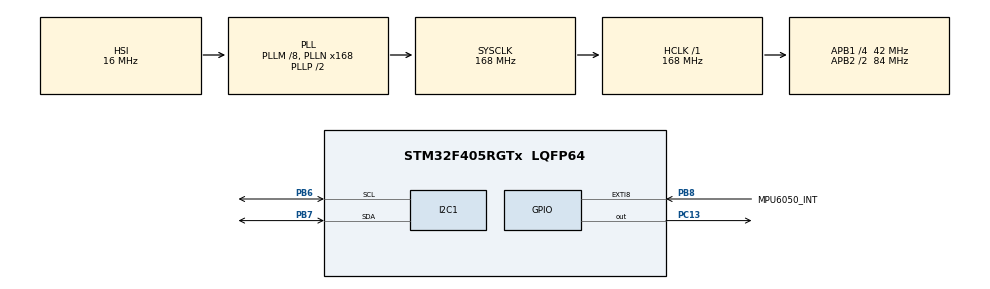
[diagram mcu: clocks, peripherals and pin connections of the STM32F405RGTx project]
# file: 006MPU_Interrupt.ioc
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FREERTOS.Tasks01=defaultTask,24,128,StartDefaultTask,Default,NULL,Dynamic,NULL,NULL;SensorReadTask,32,128,sensor_read_task,Default,NULL,Dynamic,NULL,NULL;ReceiverReadTas,24,128,reveiver_read_task,Default,NULL,Dynamic,NULL,NULL;EscControlTask,40,128,esc_control_task,Default,NULL,Dynamic,NULL,NULL
FREERTOS.configUSE_NEWLIB_REENTRANT=1
Mcu.Family=STM32F4
Mcu.Name=STM32F405RGTx
Mcu.Package=LQFP64
NVIC.EXTI9_5_IRQn=true\:5\:0\:true\:false\:true\:false\:true\:true\:true
NVIC.PriorityGroup=NVIC_PRIORITYGROUP_4
NVIC.TIM6_DAC_IRQn=true\:15\:0\:false\:false\:true\:false\:false\:true\:true
NVIC.TimeBase=TIM6_DAC_IRQn
NVIC.TimeBaseIP=TIM6
PA13.Mode=Serial_Wire
PA13.Signal=SYS_JTMS-SWDIO
PA14.Mode=Serial_Wire
PA14.Signal=SYS_JTCK-SWCLK
PB6.Mode=I2C
PB6.Signal=I2C1_SCL
PB7.Mode=I2C
PB7.Signal=I2C1_SDA
PB8.GPIO_Label=MPU6050_INT
PB8.GPIO_PuPd=GPIO_PULLDOWN
PB8.Signal=GPXTI8
PC13-ANTI_TAMP.PinState=GPIO_PIN_RESET
PC13-ANTI_TAMP.Signal=GPIO_Output
PC14-OSC32_IN.Mode=LSE-External-Oscillator
PC14-OSC32_IN.Signal=RCC_OSC32_IN
PC15-OSC32_OUT.Mode=LSE-External-Oscillator
PC15-OSC32_OUT.Signal=RCC_OSC32_OUT
PH0-OSC_IN.Mode=HSE-External-Oscillator
PH0-OSC_IN.Signal=RCC_OSC_IN
PH1-OSC_OUT.Mode=HSE-External-Oscillator
PH1-OSC_OUT.Signal=RCC_OSC_OUT
ProjectManager.HeapSize=0x200
ProjectManager.StackSize=0x400
ProjectManager.TargetToolchain=STM32CubeIDE
RCC.48MHZClocksFreq_Value=84000000
RCC.AHBFreq_Value=168000000
RCC.APB1CLKDivider=RCC_HCLK_DIV4
RCC.APB1Freq_Value=42000000
RCC.APB1TimFreq_Value=84000000
RCC.APB2CLKDivider=RCC_HCLK_DIV2
RCC.APB2Freq_Value=84000000
RCC.APB2TimFreq_Value=168000000
RCC.CortexFreq_Value=168000000
RCC.HCLKFreq_Value=168000000
RCC.HSE_VALUE=8000000
RCC.HSI_VALUE=16000000
RCC.PLLM=8
RCC.PLLN=168
RCC.SYSCLKFreq_VALUE=168000000
RCC.SYSCLKSource=RCC_SYSCLKSOURCE_PLLCLK
RCC.VCOOutputFreq_Value=336000000
VP_FREERTOS_VS_CMSIS_V2.Mode=CMSIS_V2
VP_SYS_VS_tim6.Mode=TIM6
board=custom

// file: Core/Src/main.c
/* USER CODE BEGIN Header */
/**
  ******************************************************************************
  * @file           : main.c
  * @brief          : Main program body
  ******************************************************************************
  * @attention
  *
  * Copyright (c) 2026 STMicroelectronics.
  * All rights reserved.
  *
  * This software is licensed under terms that can be found in the LICENSE file
  * in the root directory of this software component.
  * If no LICENSE file comes with this software, it is provided AS-IS.
  *
  ******************************************************************************
  */
/* USER CODE END Header */
#include "main.h"
#include "cmsis_os.h"

/* USER CODE BEGIN Includes */
#include "MPU6050.h"
#include "kalman.h"

/* USER CODE END Includes */

I2C_HandleTypeDef hi2c1;

/* Definitions for defaultTask */
osThreadId_t defaultTaskHandle;
const osThreadAttr_t defaultTask_attributes = {
  .name = "defaultTask",
  .stack_size = 128 * 4,
  .priority = (osPriority_t) osPriorityNormal,
};
/* Definitions for SensorReadTask */
osThreadId_t SensorReadTaskHandle;
const osThreadAttr_t SensorReadTask_attributes = {
  .name = "SensorReadTask",
  .stack_size = 128 * 4,
  .priority = (osPriority_t) osPriorityAboveNormal,
};
/* Definitions for ReceiverReadTas */
osThreadId_t ReceiverReadTasHandle;
const osThreadAttr_t ReceiverReadTas_attributes = {
  .name = "ReceiverReadTas",
  .stack_size = 128 * 4,
  .priority = (osPriority_t) osPriorityNormal,
};
/* Definitions for EscControlTask */
osThreadId_t EscControlTaskHandle;
const osThreadAttr_t EscControlTask_attributes = {
  .name = "EscControlTask",
  .stack_size = 128 * 4,
  .priority = (osPriority_t) osPriorityHigh,
};
/* USER CODE BEGIN PV */

mpu6050_data mpu_data;

float Gx, Gy, Gz;
float Ax, Ay, Az;

float gyro_offset[3] = {0.0};

Kalman_t KalmanRoll;
Kalman_t KalmanPitch;

float roll, pitch;

float AccRoll;
float AccPitch;

/* USER CODE END PV */

void SystemClock_Config(void);
static void MX_GPIO_Init(void);
static void MX_I2C1_Init(void);
void StartDefaultTask(void *argument);
void sensor_read_task(void *argument);
void reveiver_read_task(void *argument);
void esc_control_task(void *argument);

int main(void)
{

  /* MCU Configuration--------------------------------------------------------*/

  /* Reset of all peripherals, Initializes the Flash interface and the Systick. */
  HAL_Init();

  /* Configure the system clock */
  SystemClock_Config();

  /* Initialize all configured peripherals */
  MX_GPIO_Init();
  MX_I2C1_Init();
  /* USER CODE BEGIN 2 */

if (mpu6050_init(&hi2c1, MPU6050_ADDR) != MPU6050_OK)
{
	Error_Handler();
}

 mpu6050_disable_interrupt(&hi2c1, MPU6050_ADDR, ALL_INT);

 mpu6050_interrupt_config(&hi2c1, MPU6050_ADDR, INT_LEVEL_ACTIVE_HIGH);

 mpu6050_enable_interrupt(&hi2c1, MPU6050_ADDR, ALL_INT);

Kalman_Init(&KalmanRoll,0.0f,4.0f);
Kalman_Init(&KalmanPitch,0.0f,4.0f);

for(uint16_t i = 0; i <= 1999; i++)
{
	  mpu6050_read_data(&hi2c1, MPU6050_ADDR, &mpu_data);
	  MPU_Read_Gyro(&mpu_data, &Gx, &Gy, &Gz);

	  gyro_offset[0] += Gx;
	  gyro_offset[1] += Gy;
	  gyro_offset[2] += Gz;

	  HAL_Delay(10);
}

gyro_offset[0] /= 2000;
gyro_offset[1] /= 2000;
gyro_offset[2] /= 2000;

mpu6050_calibration(gyro_offset, &Gx, &Gy, &Gz);

  /* USER CODE END 2 */

  /* Init scheduler */
  osKernelInitialize();

  /* Create the thread(s) */
  /* creation of defaultTask */
  defaultTaskHandle = osThreadNew(StartDefaultTask, NULL, &defaultTask_attributes);

  /* creation of SensorReadTask */
  SensorReadTaskHandle = osThreadNew(sensor_read_task, NULL, &SensorReadTask_attributes);

  /* creation of ReceiverReadTas */
  ReceiverReadTasHandle = osThreadNew(reveiver_read_task, NULL, &ReceiverReadTas_attributes);

  /* creation of EscControlTask */
  EscControlTaskHandle = osThreadNew(esc_control_task, NULL, &EscControlTask_attributes);

  /* Start scheduler */
  osKernelStart();

  /* We should never get here as control is now taken by the scheduler */
  /* Infinite loop */
  while (1)
  {

  }
}

void SystemClock_Config(void)
{
  RCC_OscInitTypeDef RCC_OscInitStruct = {0};
  RCC_ClkInitTypeDef RCC_ClkInitStruct = {0};

  /** Configure the main internal regulator output voltage
  */
  __HAL_RCC_PWR_CLK_ENABLE();
  __HAL_PWR_VOLTAGESCALING_CONFIG(PWR_REGULATOR_VOLTAGE_SCALE1);

  /** Initializes the RCC Oscillators according to the specified parameters
  * in the RCC_OscInitTypeDef structure.
  */
  RCC_OscInitStruct.OscillatorType = RCC_OSCILLATORTYPE_HSI;
  RCC_OscInitStruct.HSIState = RCC_HSI_ON;
  RCC_OscInitStruct.HSICalibrationValue = RCC_HSICALIBRATION_DEFAULT;
  RCC_OscInitStruct.PLL.PLLState = RCC_PLL_ON;
  RCC_OscInitStruct.PLL.PLLSource = RCC_PLLSOURCE_HSI;
  RCC_OscInitStruct.PLL.PLLM = 8;
  RCC_OscInitStruct.PLL.PLLN = 168;
  RCC_OscInitStruct.PLL.PLLP = RCC_PLLP_DIV2;
  RCC_OscInitStruct.PLL.PLLQ = 4;
  if (HAL_RCC_OscConfig(&RCC_OscInitStruct) != HAL_OK)
  {
    Error_Handler();
  }

  /** Initializes the CPU, AHB and APB buses clocks
  */
  RCC_ClkInitStruct.ClockType = RCC_CLOCKTYPE_HCLK|RCC_CLOCKTYPE_SYSCLK
                              |RCC_CLOCKTYPE_PCLK1|RCC_CLOCKTYPE_PCLK2;
  RCC_ClkInitStruct.SYSCLKSource = RCC_SYSCLKSOURCE_PLLCLK;
  RCC_ClkInitStruct.AHBCLKDivider = RCC_SYSCLK_DIV1;
  RCC_ClkInitStruct.APB1CLKDivider = RCC_HCLK_DIV4;
  RCC_ClkInitStruct.APB2CLKDivider = RCC_HCLK_DIV2;

  if (HAL_RCC_ClockConfig(&RCC_ClkInitStruct, FLASH_LATENCY_5) != HAL_OK)
  {
    Error_Handler();
  }
}

static void MX_I2C1_Init(void)
{

  hi2c1.Instance = I2C1;
  hi2c1.Init.ClockSpeed = 100000;
  hi2c1.Init.DutyCycle = I2C_DUTYCYCLE_2;
  hi2c1.Init.OwnAddress1 = 0;
  hi2c1.Init.AddressingMode = I2C_ADDRESSINGMODE_7BIT;
  hi2c1.Init.DualAddressMode = I2C_DUALADDRESS_DISABLE;
  hi2c1.Init.OwnAddress2 = 0;
  hi2c1.Init.GeneralCallMode = I2C_GENERALCALL_DISABLE;
  hi2c1.Init.NoStretchMode = I2C_NOSTRETCH_DISABLE;
  if (HAL_I2C_Init(&hi2c1) != HAL_OK)
  {
    Error_Handler();
  }

}

static void MX_GPIO_Init(void)
{
  GPIO_InitTypeDef GPIO_InitStruct = {0};

  /* GPIO Ports Clock Enable */
  __HAL_RCC_GPIOC_CLK_ENABLE();
  __HAL_RCC_GPIOH_CLK_ENABLE();
  __HAL_RCC_GPIOA_CLK_ENABLE();
  __HAL_RCC_GPIOB_CLK_ENABLE();

  /*Configure GPIO pin Output Level */
  HAL_GPIO_WritePin(GPIOC, GPIO_PIN_13, GPIO_PIN_RESET);

  /*Configure GPIO pin : PC13 */
  GPIO_InitStruct.Pin = GPIO_PIN_13;
  GPIO_InitStruct.Mode = GPIO_MODE_OUTPUT_PP;
  GPIO_InitStruct.Pull = GPIO_NOPULL;
  GPIO_InitStruct.Speed = GPIO_SPEED_FREQ_LOW;
  HAL_GPIO_Init(GPIOC, &GPIO_InitStruct);

  /*Configure GPIO pin : MPU6050_INT_Pin */
  GPIO_InitStruct.Pin = MPU6050_INT_Pin;
  GPIO_InitStruct.Mode = GPIO_MODE_IT_RISING;
  GPIO_InitStruct.Pull = GPIO_PULLDOWN;
  HAL_GPIO_Init(MPU6050_INT_GPIO_Port, &GPIO_InitStruct);

  /* EXTI interrupt init*/
  HAL_NVIC_SetPriority(EXTI9_5_IRQn, 5, 0);
  HAL_NVIC_EnableIRQ(EXTI9_5_IRQn);

}

void StartDefaultTask(void *argument)
{
  for(;;)
  {
    osDelay(1);
  }
}

void sensor_read_task(void *argument)
{
  /* USER CODE BEGIN sensor_read_task */

	mpu6050_data mpu6050_data;
  /* Infinite loop */
  for(;;)
  {
	  if(mpu6050_read_data(&hi2c1, MPU6050_ADDR, &mpu6050_data) != MPU6050_OK )
	  {
		  Error_Handler();
	  }

	  //send notification to the esc_task (testing)
	  xTaskNotify((TaskHandle_t) EscControlTaskHandle, (uint32_t)(&mpu6050_data),\
			  eSetValueWithOverwrite ); // may be eSetValueWithoutOverwrite and notified task reverse previous value ?

	  //enter blocked state until a direct notification is received from ISR
	  xTaskNotifyWait(0, 0, NULL,portMAX_DELAY );
  }
  /* USER CODE END sensor_read_task */
}

void reveiver_read_task(void *argument)
{
  for(;;)
  {
    osDelay(1);
  }
}

void esc_control_task(void *argument)
{
  /* USER CODE BEGIN esc_control_task */
	uint32_t notifyValue = 0;

	  mpu6050_data mpu_data_rx;
  /* Infinite loop */
  for(;;)
  {
	  //enter blocked state until a direct notification is received from related task (read sensor task)
	  xTaskNotifyWait(0,0xffffffffUL ,(uint32_t *)notifyValue,portMAX_DELAY );

	  mpu_data_rx.acel_x = ((mpu6050_data *)notifyValue)->acel_x;
	  mpu_data_rx.acel_y = ((mpu6050_data *)notifyValue)->acel_y;
	  mpu_data_rx.acel_z = ((mpu6050_data *)notifyValue)->acel_z;
	  mpu_data_rx.gyro_x = ((mpu6050_data *)notifyValue)->gyro_x;
	  mpu_data_rx.gyro_x = ((mpu6050_data *)notifyValue)->gyro_y;
	  mpu_data_rx.gyro_x = ((mpu6050_data *)notifyValue)->gyro_z;

	  if(mpu_data_rx.acel_x > 45)
	  {
		  HAL_GPIO_WritePin(GPIOC, GPIO_PIN_13, GPIO_PIN_RESET);
	  }
  }
  /* USER CODE END esc_control_task */
}

void HAL_TIM_PeriodElapsedCallback(TIM_HandleTypeDef *htim)
{
  if (htim->Instance == TIM6) {
    HAL_IncTick();
  }
}

void Error_Handler(void)
{
  __disable_irq();
  while (1)
  {
  }
}
